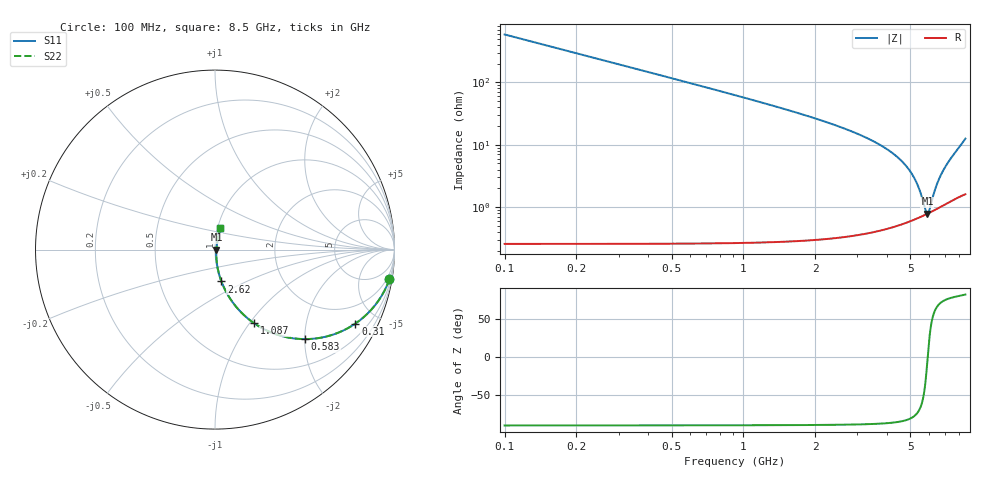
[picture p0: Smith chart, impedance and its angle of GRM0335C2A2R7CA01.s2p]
!Murata Part Number: GRM0335C2A2R7CA01
!These Parameters are Measured in Series Mode Connection
!Data Generated on Mar 30, 2021
!  o--ll--o
!Port1  Port2
!  o------o
!Operation Temp=25[degC], DC Bias Voltage=0[V]
!Freq. Start=100[MHz] Stop=9[GHz] 401[Steps]
# Hz S RI R 50
!Freq.(Hz) S11(Real) S11(Imag) S21(Real) S21(Imag) S12(Real) S12(Imag) S22(Real) S22(Imag)
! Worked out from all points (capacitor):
!   401 points, 100 MHz to 8.5 GHz, reference 50 ohm
!   read as one part in series: C = 2.7 pF near 142 MHz
!   lowest |Z| = 782 mohm at 5.896 GHz (marker M1)
!   series resonance near 5.908 GHz, so ESL is about 270 pH
!   S11 on the Smith chart (normalised r, x): 100 MHz: 1, -12; 310 MHz: 1.01, -3.79; 583 MHz: 1.01, -2.00; 1.087 GHz: 1.01, -1.05; 2.62 GHz: 1.01, -0.37; 8.5 GHz: 1.03, +0.25
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1e8  0.9719 -0.1649  0.0281 0.1649  0.0281 0.1649  0.9719 -0.1649
2.05e8  0.8917 -0.3103  0.1083 0.3103  0.1083 0.3103  0.8917 -0.3103
3.1e8  0.7822 -0.4121  0.2178 0.4121  0.2178 0.4121  0.7822 -0.4121
4.36e8  0.6439 -0.4779  0.3561 0.4779  0.3561 0.4779  0.6439 -0.4779
5.83e8  0.5011 -0.4987  0.4989 0.4987  0.4989 0.4987  0.5011 -0.4987
8.14e8  0.3369 -0.4708  0.6631 0.4708  0.6631 0.4708  0.3369 -0.4708
1.087e9  0.2178 -0.4102  0.7822 0.4102  0.7822 0.4102  0.2178 -0.4102
1.507e9  0.1213 -0.3227  0.8787 0.3227  0.8787 0.3227  0.1213 -0.3227
2.62e9  0.036 -0.1775  0.964 0.1775  0.964 0.1775  0.036 -0.1775
2.914e9  0.0274 -0.1525  0.9726 0.1525  0.9726 0.1525  0.0274 -0.1525
4.3e9  0.00944 -0.0677  0.9906 0.0677  0.9906 0.0677  0.00944 -0.0677
4.783e9  0.0076 -0.0455  0.9924 0.0455  0.9924 0.0455  0.0076 -0.0455
5.161e9  0.00704 -0.0294  0.993 0.0294  0.993 0.0294  0.00704 -0.0294
5.455e9  0.00706 -0.0176  0.9929 0.0176  0.9929 0.0176  0.00706 -0.0176
5.707e9  0.00736 -0.00772  0.9926 0.00772  0.9926 0.00772  0.00736 -0.00772
5.812e9  0.00755 -0.00368  0.9924 0.00368  0.9924 0.00368  0.00755 -0.00368
5.896e9  0.00774 -0.000461  0.9923 0.000461  0.9923 0.000461  0.00774 -0.000461
6.001e9  0.00801 0.00354  0.992 -0.00354  0.992 -0.00354  0.00801 0.00354
6.274e9  0.00891 0.0139  0.9911 -0.0139  0.9911 -0.0139  0.00891 0.0139
6.505e9  0.00989 0.0226  0.9901 -0.0226  0.9901 -0.0226  0.00989 0.0226
7.114e9  0.0134 0.0462  0.9866 -0.0462  0.9866 -0.0462  0.0134 0.0462
8.5e9  0.0303 0.1186  0.9697 -0.1186  0.9697 -0.1186  0.0303 0.1186
